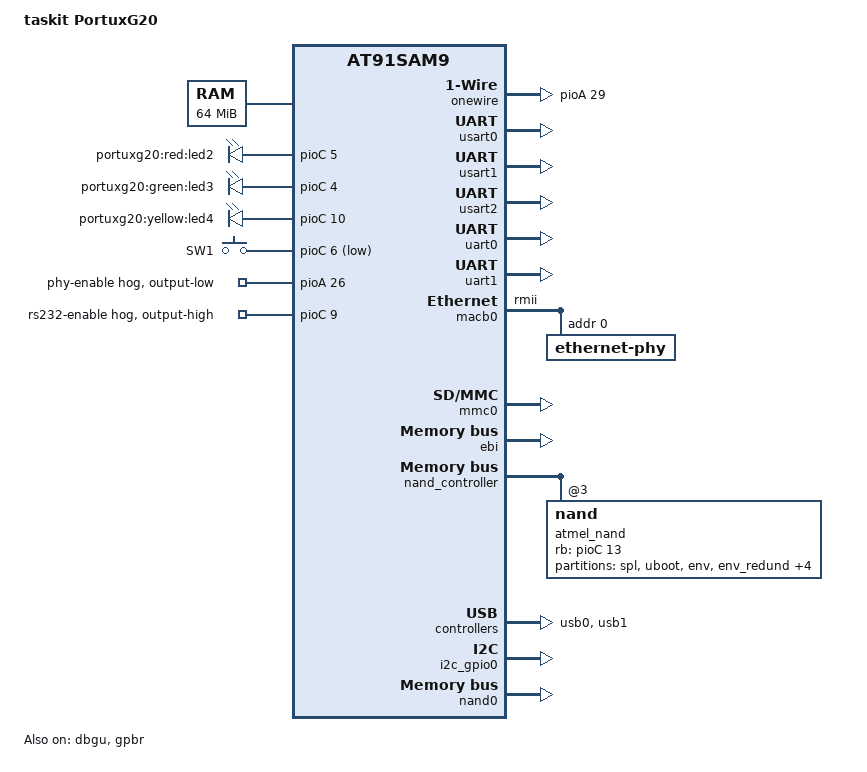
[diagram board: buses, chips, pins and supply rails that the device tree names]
// SPDX-License-Identifier: GPL-2.0-or-later
/*
 * barebox device tree for the taskit PortuxG20. The board part is the same
 * as the Linux at91-portuxg20.dts; barebox uses its legacy NAND driver
 * (as the Calao boards do) and keeps its environment in NAND.
 */
/dts-v1/;
#include <arm/microchip/at91sam9g20.dtsi>
#include <dt-bindings/gpio/gpio.h>
#include <dt-bindings/input/input.h>

/ {
	model = "taskit PortuxG20";
	compatible = "taskit,portuxg20", "atmel,at91sam9g20", "atmel,at91sam9";

	chosen {
		stdout-path = "serial0:115200n8";
	};

	memory@20000000 {
		reg = <0x20000000 0x4000000>;
	};

	clocks {
		slow_xtal {
			clock-frequency = <32768>;
		};

		main_xtal {
			clock-frequency = <18432000>;
		};
	};

	leds {
		compatible = "gpio-leds";

		led-2 {
			label = "portuxg20:red:led2";
			gpios = <&pioC 5 GPIO_ACTIVE_HIGH>;
		};

		led-3 {
			label = "portuxg20:green:led3";
			gpios = <&pioC 4 GPIO_ACTIVE_HIGH>;
		};

		led-4 {
			label = "portuxg20:yellow:led4";
			gpios = <&pioC 10 GPIO_ACTIVE_HIGH>;
			linux,default-trigger = "heartbeat";
		};
	};

	gpio-keys {
		compatible = "gpio-keys";

		key-sw1 {
			label = "SW1";
			gpios = <&pioC 6 GPIO_ACTIVE_LOW>;
			linux,code = <KEY_PROG1>;
		};
	};

	onewire {
		compatible = "w1-gpio";
		gpios = <&pioA 29 GPIO_OPEN_DRAIN>;
	};
};

&pioA {
	/* low: 50 MHz RMII reference oscillator of the PHY on */
	phy-enable-hog {
		gpio-hog;
		gpios = <26 GPIO_ACTIVE_HIGH>;
		output-low;
		line-name = "phy-enable";
	};
};

&pioC {
	/* high: RS-232 transceiver of X6/X4 (DBGU, USART2) on */
	rs232-enable-hog {
		gpio-hog;
		gpios = <9 GPIO_ACTIVE_HIGH>;
		output-high;
		line-name = "rs232-enable";
	};
};

&dbgu {
	status = "okay";
};

/* IF0, 3.3 V TTL, full modem lines */
&usart0 {
	pinctrl-0 = <&pinctrl_usart0
		     &pinctrl_usart0_rts
		     &pinctrl_usart0_cts
		     &pinctrl_usart0_dtr_dsr
		     &pinctrl_usart0_dcd
		     &pinctrl_usart0_ri>;
	status = "okay";
};

/* IF1 */
&usart1 {
	pinctrl-0 = <&pinctrl_usart1 &pinctrl_usart1_rts &pinctrl_usart1_cts>;
	status = "okay";
};

/* X6/X4 RS-232 */
&usart2 {
	pinctrl-0 = <&pinctrl_usart2 &pinctrl_usart2_rts &pinctrl_usart2_cts>;
	status = "okay";
};

/* IF4, IF5 */
&uart0 {
	status = "okay";
};

&uart1 {
	status = "okay";
};

&macb0 {
	phy-mode = "rmii";
	#address-cells = <1>;
	#size-cells = <0>;
	status = "okay";

	/* PHY interrupt (PA28) left out until its polarity is known */
	ethernet-phy@0 {
		reg = <0>;
	};
};

/* micro-SD X5 on slot A, no card-detect / write-protect lines */
&mmc0 {
	pinctrl-0 = <&pinctrl_mmc0_clk
		     &pinctrl_mmc0_slot0_cmd_dat0
		     &pinctrl_mmc0_slot0_dat1_3>;
	status = "okay";

	slot@0 {
		reg = <0>;
		bus-width = <4>;
	};
};

&ebi {
	status = "okay";
};

&nand_controller {
	pinctrl-0 = <&pinctrl_nand_cs &pinctrl_nand_rb>;
	pinctrl-names = "default";
	status = "okay";

	nand@3 {
		reg = <0x3 0x0 0x800000>;
		rb-gpios = <&pioC 13 GPIO_ACTIVE_HIGH>;
		cs-gpios = <&pioC 14 GPIO_ACTIVE_HIGH>;
		nand-bus-width = <8>;
		nand-ecc-mode = "soft";
		label = "atmel_nand";

		/* same layout as the U-Boot mtdparts default */
		partitions {
			compatible = "fixed-partitions";
			#address-cells = <1>;
			#size-cells = <1>;

			partition@0 {
				label = "spl";
				reg = <0x0 0x20000>;
				read-only;
			};

			partition@20000 {
				label = "uboot";
				reg = <0x20000 0x100000>;
				read-only;
			};

			partition@120000 {
				label = "env";
				reg = <0x120000 0x40000>;
			};

			partition@160000 {
				label = "env_redund";
				reg = <0x160000 0x40000>;
			};

			partition@1a0000 {
				label = "dtb";
				reg = <0x1a0000 0x60000>;
			};

			partition@200000 {
				label = "kernel";
				reg = <0x200000 0x800000>;
			};

			partition@a00000 {
				label = "rescue";
				reg = <0xa00000 0x1000000>;
			};

			partition@1a00000 {
				label = "ubi";
				reg = <0x1a00000 0x6600000>;
			};
		};
	};
};

/* X9, two host ports */
&usb0 {
	num-ports = <2>;
	status = "okay";
};

/* X7 device port, VBUS sensed on PC7 */
&usb1 {
	atmel,vbus-gpio = <&pioC 7 GPIO_ACTIVE_HIGH>;
	status = "okay";
};

&i2c_gpio0 {
	status = "okay";
};

&shdwc {
	atmel,wakeup-counter = <10>;
	atmel,wakeup-rtt-timer;
};

&{/ahb/apb/rtc@fffffd20} {
	atmel,rtt-rtc-time-reg = <&gpbr 0x0>;
	status = "okay";
};

&gpbr {
	status = "okay";
};

#include "at91sam9g20.dtsi"

/ {
	chosen {
		environment {
			compatible = "barebox,environment";
			device-path = &env_nand;
		};
	};
};

&nand0 {
	nand-bus-width = <8>;
	nand-ecc-mode = "soft";
	status = "okay";

	partitions {
		compatible = "fixed-partitions";
		#address-cells = <1>;
		#size-cells = <1>;

		partition@0 {
			label = "spl";
			reg = <0x0 0x20000>;
		};

		partition@20000 {
			label = "barebox";
			reg = <0x20000 0x100000>;
		};

		env_nand: partition@120000 {
			label = "env";
			reg = <0x120000 0x40000>;
		};

		partition@160000 {
			label = "env_redund";
			reg = <0x160000 0x40000>;
		};

		partition@1a0000 {
			label = "dtb";
			reg = <0x1a0000 0x60000>;
		};

		partition@200000 {
			label = "kernel";
			reg = <0x200000 0x800000>;
		};

		partition@a00000 {
			label = "rescue";
			reg = <0xa00000 0x1000000>;
		};

		partition@1a00000 {
			label = "ubi";
			reg = <0x1a00000 0x6600000>;
		};
	};
};
